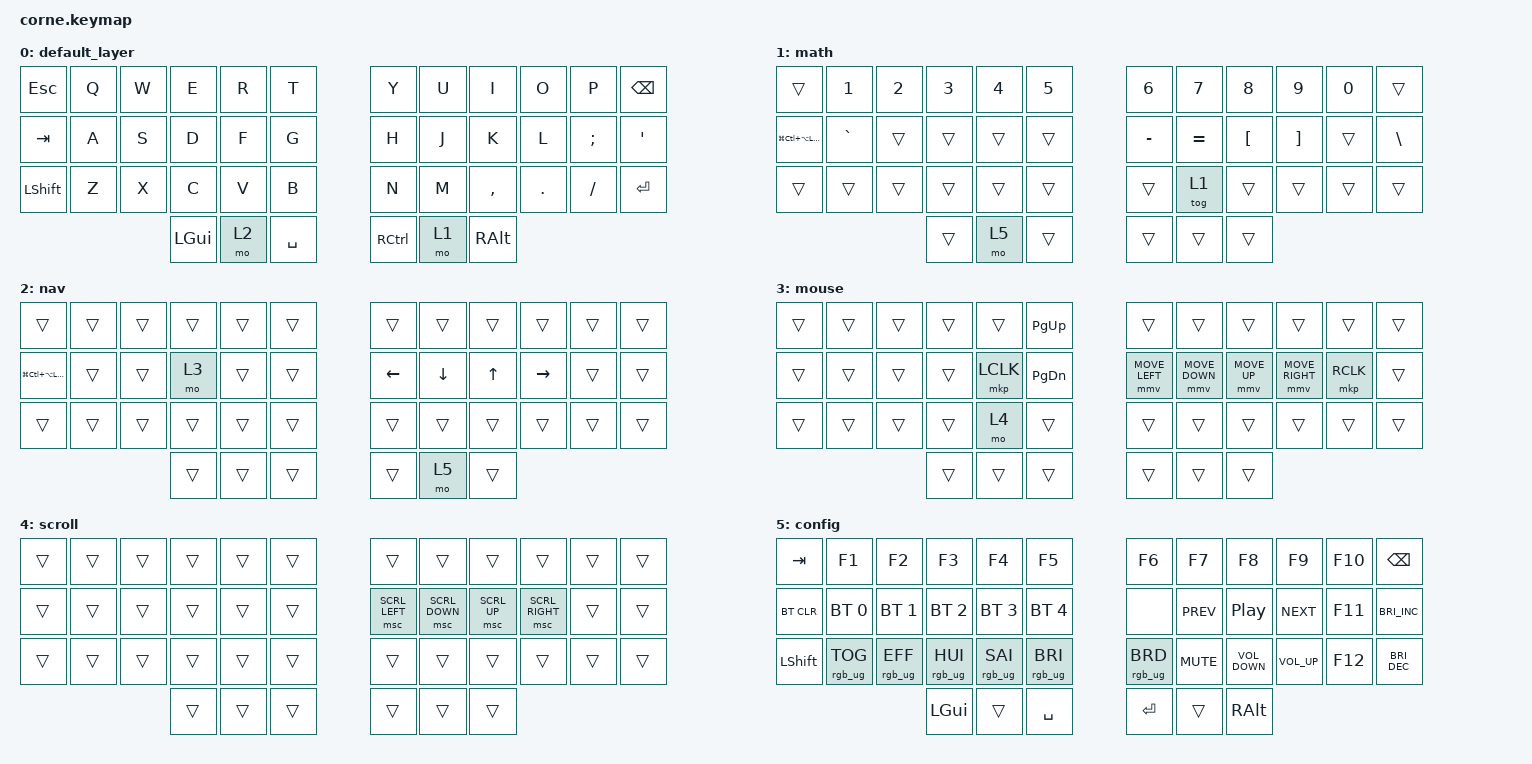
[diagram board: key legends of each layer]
/*
 * Copyright (c) 2020 The ZMK Contributors
 *
 * SPDX-License-Identifier: MIT
 */

#include <behaviors.dtsi>
#include <dt-bindings/zmk/bt.h>
#include <dt-bindings/zmk/keys.h>
#include <dt-bindings/zmk/pointing.h>
#include <dt-bindings/zmk/rgb.h>

/* Override LED chain-length: 27 = 6 underglow + 21 per-key LEDs per half */

&led_strip { chain-length = <27>; };

/ {
    keymap {
        compatible = "zmk,keymap";

        default_layer {
            // -----------------------------------------------------------------------------------------
            // |  TAB |  Q  |  W  |  E  |  R  |  T  |   |  Y  |  U   |  I  |  O  |  P  | BSPC |
            // | CTRL |  A  |  S  |  D  |  F  |  G  |   |  H  |  J   |  K  |  L  |  ;  |  '   |
            // | SHFT |  Z  |  X  |  C  |  V  |  B  |   |  N  |  M   |  ,  |  .  |  /  | ESC  |
            //                    | GUI | LWR | SPC |   | ENT | RSE  | ALT |

            bindings = <
&kp ESC    &kp Q  &kp W  &kp E     &kp R  &kp T        &kp Y      &kp U  &kp I      &kp O    &kp P     &kp BSPC
&kp TAB    &kp A  &kp S  &kp D     &kp F  &kp G        &kp H      &kp J  &kp K      &kp L    &kp SEMI  &kp SQT
&kp LSHFT  &kp Z  &kp X  &kp C     &kp V  &kp B        &kp N      &kp M  &kp COMMA  &kp DOT  &kp FSLH  &kp ENTER
                         &kp LGUI  &mo 2  &kp SPACE    &kp RCTRL  &mo 1  &kp RALT
            >;
        };

        math {
            bindings = <
&trans                 &kp N1     &kp N2  &kp N3  &kp N4  &kp N5    &kp N6     &kp N7     &kp N8    &kp N9    &kp N0  &trans
&kp LG(LC(LA(LSHFT)))  &kp GRAVE  &trans  &trans  &trans  &trans    &kp MINUS  &kp EQUAL  &kp LBKT  &kp RBKT  &trans  &kp BSLH
&trans                 &trans     &trans  &trans  &trans  &trans    &trans     &tog 1     &trans    &trans    &trans  &trans
                                          &trans  &mo 5   &trans    &trans     &trans     &trans
            >;
        };

        nav {
            bindings = <
&trans                 &trans  &trans  &trans  &trans  &trans    &trans    &trans    &trans  &trans     &trans  &trans
&kp LG(LC(LA(LSHFT)))  &trans  &trans  &mo 3   &trans  &trans    &kp LEFT  &kp DOWN  &kp UP  &kp RIGHT  &trans  &trans
&trans                 &trans  &trans  &trans  &trans  &trans    &trans    &trans    &trans  &trans     &trans  &trans
                                       &trans  &trans  &trans    &trans    &mo 5     &trans
            >;
        };

        mouse {
            bindings = <
&trans  &trans  &trans  &trans  &trans     &kp PG_UP    &trans          &trans          &trans        &trans           &trans     &trans
&trans  &trans  &trans  &trans  &mkp LCLK  &kp PG_DN    &mmv MOVE_LEFT  &mmv MOVE_DOWN  &mmv MOVE_UP  &mmv MOVE_RIGHT  &mkp RCLK  &trans
&trans  &trans  &trans  &trans  &mo 4      &trans       &trans          &trans          &trans        &trans           &trans     &trans
                        &trans  &trans     &trans       &trans          &trans          &trans
            >;
        };

        scroll {
            bindings = <
&trans  &trans  &trans  &trans  &trans  &trans    &trans          &trans          &trans        &trans           &trans  &trans
&trans  &trans  &trans  &trans  &trans  &trans    &msc SCRL_LEFT  &msc SCRL_DOWN  &msc SCRL_UP  &msc SCRL_RIGHT  &trans  &trans
&trans  &trans  &trans  &trans  &trans  &trans    &trans          &trans          &trans        &trans           &trans  &trans
                        &trans  &trans  &trans    &trans          &trans          &trans
            >;
        };

        config {
            // -----------------------------------------------------------------------------------------
            // |  TAB |  1  |  2  |  3  |  4  |  5  |   |  6  |  7  |  8  |  9  |  0  | BSPC |
            // | BTCLR| BT1 | BT2 | BT3 | BT4 | BT5 |   | LFT | DWN |  UP | RGT |     |      |
            // | SHFT | RGB | EFF | HUE+| SAT+| BRI+|   | BRI-|     |     |     |     |      |
            //                    | GUI |     | SPC |   | ENT |     | ALT |

            bindings = <
&kp TAB     &kp F1           &kp F2           &kp F3           &kp F4           &kp F5             &kp F6           &kp F7      &kp F8             &kp F9           &kp F10  &kp BSPC
&bt BT_CLR  &bt BT_SEL 0     &bt BT_SEL 1     &bt BT_SEL 2     &bt BT_SEL 3     &bt BT_SEL 4       &none            &kp C_PREV  &kp C_PP           &kp C_NEXT       &kp F11  &kp C_BRIGHTNESS_INC
&kp LSHFT   &rgb_ug RGB_TOG  &rgb_ug RGB_EFF  &rgb_ug RGB_HUI  &rgb_ug RGB_SAI  &rgb_ug RGB_BRI    &rgb_ug RGB_BRD  &kp C_MUTE  &kp K_VOLUME_DOWN  &kp K_VOLUME_UP  &kp F12  &kp C_BRIGHTNESS_DEC
                                              &kp LGUI         &trans           &kp SPACE          &kp RET          &trans      &kp RALT
            >;
        };
    };
};
